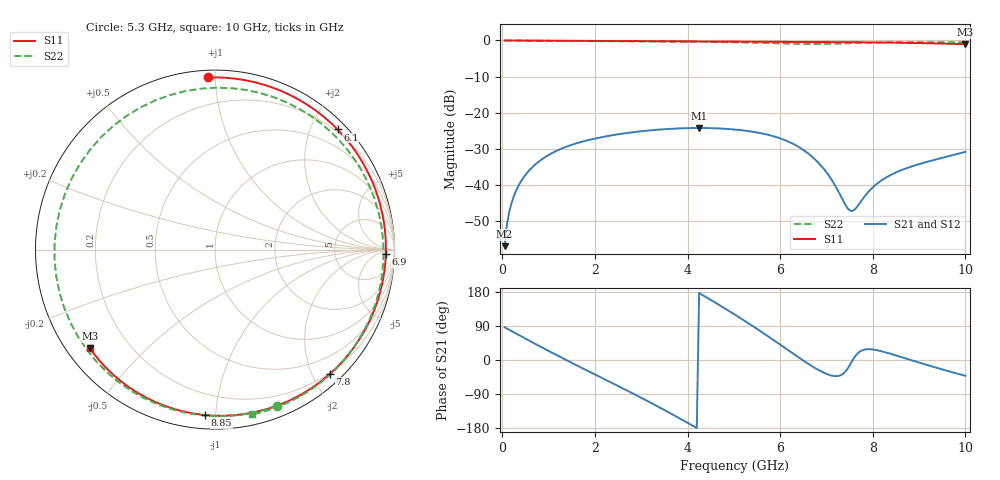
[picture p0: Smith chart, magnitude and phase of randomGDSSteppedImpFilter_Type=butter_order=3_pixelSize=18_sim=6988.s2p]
! freq	dB(S11)	phase(S11)	dB(S12)	phase(S12)
!  dB(S21)	phase(S21)	dB(S22)	phase(S22)
!S-par simulation data
#  GHz  S  DB  R 50
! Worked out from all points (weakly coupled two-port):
!   200 points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, 50 MHz to 10 GHz, reference 50 ohm
!   highest |S21| = -24.25 dB at 4.25 GHz (marker M1); lowest = -57.0 dB at 50 MHz (marker M2)
!   lowest |S11| = -1.0 dB at 10 GHz (marker M3), VSWR 16.80, Z = 3.33 - j17.3 ohm
!   |S11| at or under -10 dB: nowhere
!   |S22| runs from -1.0 to 0.0 dB; largest |S21 - S12| = 0
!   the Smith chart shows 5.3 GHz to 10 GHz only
!   S11 on the Smith chart (normalised r, x): 5.3 GHz: 0.04, +0.96; 6.1 GHz: 0.16, +2.44; 6.9 GHz: 32, -17; 7.8 GHz: 0.18, -2.28; 8.85 GHz: 0.08, -0.94; 10 GHz: 0.07, -0.35
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0.05  -0.00 -2.5  -56.97 86.5  -56.97 86.5  -0.00 -4.2
0.15  -0.01 -7.6  -47.48 79.7  -47.48 79.7  -0.02 -12.7
0.3  -0.02 -15.1  -41.53 69.7  -41.53 69.7  -0.03 -25.2
0.95  -0.06 -47.3  -32.11 27.1  -32.11 27.1  -0.10 -78.7
1.75  -0.11 -85.9  -27.94 -23.0  -27.94 -23.0  -0.17 -142.1
2.5  -0.16 -121.5  -25.98 -68.6  -25.98 -68.6  -0.22 159.5
3  -0.19 -145.3  -25.14 -99.7  -25.14 -99.7  -0.26 120.2
3.4  -0.22 -164.7  -24.67 -125.4  -24.67 -125.4  -0.29 88.3
4.25  -0.28 151.8  -24.25 176.7  -24.25 176.7  -0.37 19.8
4.65  -0.31 129.9  -24.35 147.7  -24.35 147.7  -0.42 -12.9
5.05  -0.34 107.0  -24.71 117.6  -24.71 117.6  -0.50 -46.4
5.3  -0.36 92.3  -25.08 98.0  -25.08 98.0  -0.57 -68.2
5.7  -0.38 68.4  -26.01 65.7  -26.01 65.7  -0.71 -105.7
6.1  -0.39 44.4  -27.59 32.1  -27.59 32.1  -0.87 -147.7
6.4  -0.40 26.8  -29.48 6.7  -29.48 6.7  -0.97 177.7
6.7  -0.42 9.6  -32.31 -17.3  -32.31 -17.3  -1.00 141.5
6.9  -0.43 -1.5  -34.92 -31.1  -34.92 -31.1  -0.97 117.7
7.5  -0.47 -32.7  -47.05 -14.3  -47.05 -14.3  -0.76 54.4
7.8  -0.51 -47.2  -43.61 26.8  -43.61 26.8  -0.65 29.1
8.35  -0.59 -72.1  -37.49 17.6  -37.49 17.6  -0.53 -7.8
8.85  -0.69 -93.4  -34.85 -1.2  -34.85 -1.2  -0.49 -33.6
10  -1.04 -141.8  -30.85 -41.7  -30.85 -41.7  -0.53 -77.5
